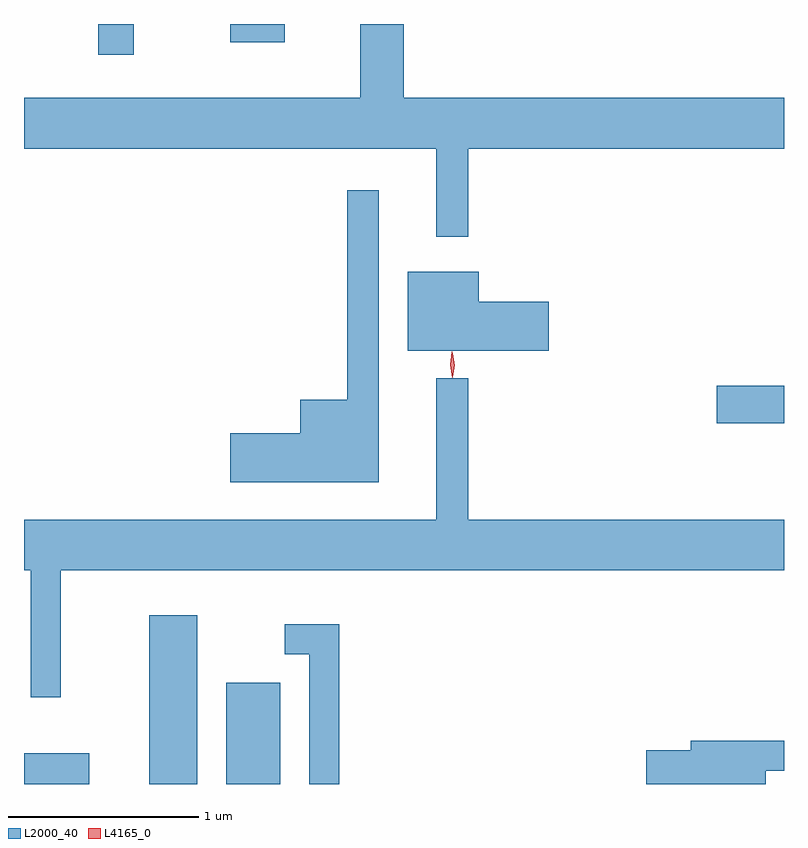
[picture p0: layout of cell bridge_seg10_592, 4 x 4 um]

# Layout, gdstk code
import gdstk
lib = gdstk.Library(unit=1e-6, precision=1e-09)
def R(c, l, rs):  # rectangles x0, y0, x1, y1
    for r in rs: c.add(gdstk.rectangle(r[:2], r[2:], *l))
def P(c, l, *ps):  # polygons
    for p in ps: c.add(gdstk.Polygon(p, *l))
L2000_40 = (2000, 40)
L4165_0 = (4165, 0)

bridge_seg10_592 = lib.new_cell('bridge_seg10_592')
R(bridge_seg10_592, L2000_40, [(666.351,2143.872,666.694,2144.034), (667.011,2143.872,667.264,2144.759), (667.416,2143.872,667.699,2144.404), (669.996,2145.771,670.351,2145.969), (666.741,2147.711,666.929,2147.872), (667.436,2147.776,667.724,2147.872)])
P(bridge_seg10_592, L2000_40, [(668.689,2147.216),(670.351,2147.216),(670.351,2147.484),(668.349,2147.484),(668.349,2147.872),(668.121,2147.872),(668.121,2147.484),(666.351,2147.484),(666.351,2147.216),(668.521,2147.216),(668.521,2146.753),(668.689,2146.753)],
  [(668.219,2146.998),(668.051,2146.998),(668.051,2145.894),(667.806,2145.894),(667.806,2145.719),(667.436,2145.719),(667.436,2145.461),(668.219,2145.461)],
  [(669.114,2146.409),(668.744,2146.409),(668.744,2146.569),(668.371,2146.569),(668.371,2146.151),(669.114,2146.151)],
  [(666.544,2144.996),(670.351,2144.996),(670.351,2145.264),(668.689,2145.264),(668.689,2146.008),(668.521,2146.008),(668.521,2145.264),(666.351,2145.264),(666.351,2144.996),(666.386,2144.996),(666.386,2144.328),(666.544,2144.328)],
  [(668.009,2144.714),(667.723,2144.714),(667.723,2144.556),(667.851,2144.556),(667.851,2143.872),(668.009,2143.872)],
  [(670.254,2143.941),(670.351,2143.941),(670.351,2144.099),(669.861,2144.099),(669.861,2144.049),(669.626,2144.049),(669.626,2143.872),(670.254,2143.872)])
P(bridge_seg10_592, L4165_0, [(668.607,2146.013),(668.607,2146.014),(668.597,2146.076),(668.607,2146.14),(668.607,2146.14),(668.608,2146.14),(668.617,2146.076),(668.608,2146.014)],
  [(668.604,2146.01),(668.594,2146.078),(668.603,2146.146),(668.604,2146.146),(668.604,2146.146),(668.614,2146.078),(668.605,2146.01),(668.605,2146.01)])

lib.write_gds('bridge_seg10_592.gds')
